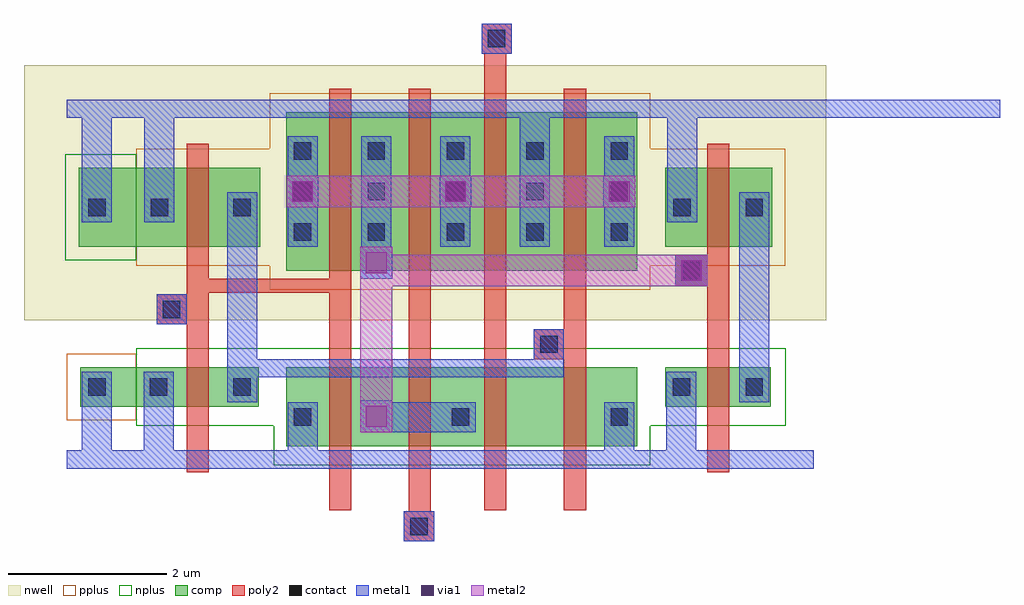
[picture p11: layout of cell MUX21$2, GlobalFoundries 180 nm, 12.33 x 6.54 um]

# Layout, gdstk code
from math import pi, radians
import gdstk
lib = gdstk.Library(unit=1e-6, precision=5e-09)
def R(c, l, rs):  # rectangles x0, y0, x1, y1
    for r in rs: c.add(gdstk.rectangle(r[:2], r[2:], *l))
def A(c, l, x, y, w, h, nx, ny, dx, dy):  # array of equal rectangles
    R(c, l, [(x+i*dx, y+j*dy, x+i*dx+w, y+j*dy+h) for i in range(nx) for j in range(ny)])
nwell = (21, 0)
comp = (22, 0)
poly2 = (30, 0)
pplus = (31, 0)
nplus = (32, 0)
contact = (33, 0)
metal1 = (34, 0)
via1 = (35, 0)
metal2 = (36, 0)

via_dev_11_2 = lib.new_cell('via_dev$11$2')
R(via_dev_11_2, metal1, [(0,0,0.4,0.4)])
R(via_dev_11_2, via1, [(0.07,0.07,0.33,0.33)])
R(via_dev_11_2, metal2, [(0,0,0.4,0.4)])

via_dev_1_6_2 = lib.new_cell('via_dev$1$6$2')
R(via_dev_1_6_2, poly2, [(0,0,0.4,0.4)])
R(via_dev_1_6_2, contact, [(0.09,0.09,0.31,0.31)])
R(via_dev_1_6_2, metal1, [(0,0,0.4,0.4)])
R(via_dev_1_6_2, via1, [(0.07,0.07,0.33,0.33)])
R(via_dev_1_6_2, metal2, [(0,0,0.4,0.4)])

mux21_2 = lib.new_cell('MUX21$2')
R(mux21_2, nwell, [(-1.55,1.405,8.585,4.63)])
R(mux21_2, comp, [(1.765,-0.185,2.18,0.815), (2.18,-0.185,2.635,0.815), (2.635,-0.185,3.055,0.815), (3.055,-0.185,3.755,0.815), (3.545,-0.185,4.195,0.815), (4.195,-0.185,4.645,0.815), (4.645,-0.185,5.065,0.815), (5.065,-0.185,5.76,0.815), (5.76,-0.185,6.2,0.815), (-0.84,0.315,-0.13,0.815), (-0.13,0.315,0.36,0.815), (0.36,0.315,0.995,0.815), (0.995,0.315,1.415,0.815), (6.55,0.315,6.965,0.815), (6.965,0.315,7.465,0.815), (7.465,0.315,7.885,0.815), (1.76,2.035,2.2,4.035), (2.2,2.035,2.67,4.035), (2.67,2.035,3.13,4.035), (3.13,2.035,3.665,4.035), (3.665,2.035,4.155,4.035), (4.155,2.035,4.675,4.035), (4.675,2.035,5.135,4.035), (4.675,2.035,5.135,4.035), (5.135,2.035,5.74,4.035), (5.74,2.035,6.2,4.035), (-0.86,2.335,-0.13,3.335), (-0.13,2.335,0.39,3.335), (0.39,2.335,0.975,3.335), (0.975,2.335,1.435,3.335), (6.55,2.335,6.995,3.335), (6.995,2.335,7.445,3.335), (7.445,2.335,7.905,3.335)])
R(mux21_2, poly2, [(3.25,-1.385,3.63,-1.005), (3.31,-1.005,3.59,4.335), (2.305,-0.99,2.585,4.33), (4.265,-0.99,4.545,4.795), (5.27,-0.99,5.55,4.335), (0.505,-0.515,0.785,3.635), (7.08,-0.515,7.36,3.635), (4.89,0.915,5.27,1.295), (0.125,1.355,0.505,1.735), (0.785,1.755,2.305,1.935), (4.23,4.775,4.61,5.155)])
R(mux21_2, pplus, [(-1.01,0.145,-0.13,0.985), (1.555,1.795,6.36,4.275), (-0.13,2.095,1.555,3.575), (6.36,2.095,8.065,3.575)])
R(mux21_2, nplus, [(1.605,-0.425,6.36,1.055), (-0.13,0.075,1.605,1.055), (6.36,0.075,8.075,1.055), (-1.03,2.165,-0.13,3.505)])
A(mux21_2, contact, 1.86, 2.415, 0.22, 0.22, 1, 3, 0, 0.51)
A(mux21_2, contact, 2.79, 2.415, 0.22, 0.22, 1, 3, 0, 0.51)
A(mux21_2, contact, 3.79, 2.415, 0.22, 0.22, 1, 3, 0, 0.51)
A(mux21_2, contact, 4.795, 2.415, 0.22, 0.22, 1, 3, 0, 0.51)
A(mux21_2, contact, 5.86, 2.415, 0.22, 0.22, 1, 3, 0, 0.51)
R(mux21_2, contact, [(3.33,-1.305,3.55,-1.085), (1.86,0.075,2.08,0.295), (3.855,0.075,4.075,0.295), (5.86,0.075,6.08,0.295), (-0.74,0.455,-0.52,0.675), (0.04,0.455,0.26,0.675), (1.095,0.455,1.315,0.675), (6.645,0.455,6.865,0.675), (7.565,0.455,7.785,0.675), (4.97,0.995,5.19,1.215), (0.205,1.435,0.425,1.655), (-0.74,2.725,-0.52,2.945), (0.05,2.725,0.27,2.945), (1.095,2.725,1.315,2.945), (6.655,2.725,6.875,2.945), (7.565,2.725,7.785,2.945), (4.31,4.855,4.53,5.075)])
R(mux21_2, metal1, [(3.25,-1.385,3.63,-1.005), (-1.01,-0.465,-0.05,-0.235), (-0.05,-0.465,8.425,-0.235), (-0.82,-0.235,-0.44,0.375), (-0.04,-0.235,0.34,0.375), (1.78,-0.235,2.16,-0.005), (5.78,-0.235,6.16,-0.005), (6.565,-0.235,6.945,0.375), (1.78,-0.005,2.16,0.375), (3.1,-0.005,3.775,0.375), (3.775,-0.005,4.155,0.375), (5.78,-0.005,6.16,0.375), (-0.82,0.375,-0.44,0.755), (-0.04,0.375,0.34,0.755), (1.015,0.375,1.395,0.755), (6.565,0.375,6.945,0.755), (7.485,0.375,7.865,0.755), (1.395,0.685,5.27,0.915), (1.015,0.755,1.395,2.645), (7.485,0.755,7.865,2.645), (4.89,0.915,5.27,1.295), (0.125,1.355,0.505,1.735), (1.78,2.335,2.16,3.735), (2.71,2.335,3.09,3.735), (3.71,2.335,4.09,3.735), (4.715,2.335,5.095,3.735), (5.78,2.335,6.16,3.735), (-0.82,2.645,-0.44,3.025), (-0.03,2.645,0.35,3.025), (1.015,2.645,1.395,3.025), (6.575,2.645,6.955,3.025), (7.485,2.645,7.865,3.025), (-0.82,3.025,-0.44,3.965), (-0.03,3.025,0.35,3.965), (6.575,3.025,6.955,3.965), (4.715,3.735,5.095,3.965), (-1.01,3.965,-0.13,4.195), (-0.13,3.965,10.78,4.195), (4.23,4.775,4.61,5.155)])
R(mux21_2, metal2, [(2.7,0.395,3.1,1.935), (3.1,1.835,6.68,2.235), (2.17,2.835,5.77,3.235)])
mux21_2.add(gdstk.Reference(via_dev_11_2, (5.77,2.835)))
mux21_2.add(gdstk.Reference(via_dev_11_2, (3.7,2.835)))
mux21_2.add(gdstk.Reference(via_dev_11_2, (1.77,2.835)))
mux21_2.add(gdstk.Reference(via_dev_11_2, (3.1,-0.005), rotation=pi, x_reflection=True))
mux21_2.add(gdstk.Reference(via_dev_11_2, (3.1,1.935), rotation=pi, x_reflection=True))
mux21_2.add(gdstk.Reference(via_dev_1_6_2, (6.68,1.835)))

lib.write_gds('MUX21_2.gds')
